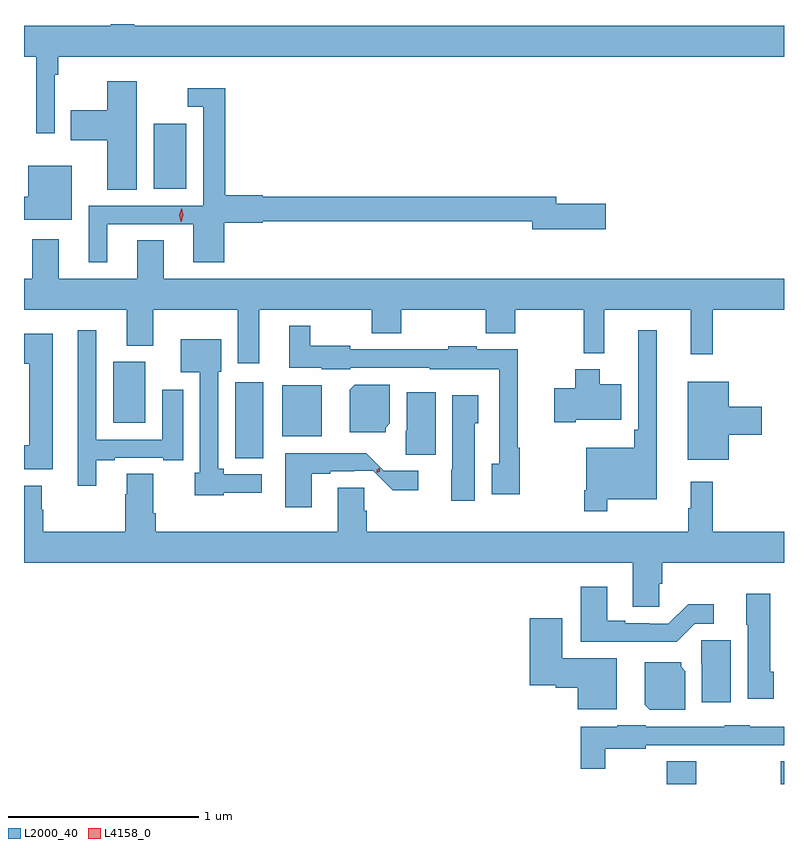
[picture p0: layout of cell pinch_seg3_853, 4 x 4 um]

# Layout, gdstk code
import gdstk
lib = gdstk.Library(unit=1e-6, precision=1e-09)
def R(c, l, rs):  # rectangles x0, y0, x1, y1
    for r in rs: c.add(gdstk.rectangle(r[:2], r[2:], *l))
def P(c, l, *ps):  # polygons
    for p in ps: c.add(gdstk.Polygon(p, *l))
L2000_40 = (2000, 40)
L4158_0 = (4158, 0)

pinch_seg3_853 = lib.new_cell('pinch_seg3_853')
R(pinch_seg3_853, L2000_40, [(667.552,675.776,667.707,675.896), (668.152,675.776,668.168,675.896), (665.279,677.491,665.428,677.89), (665.528,677.606,665.734,677.876), (664.637,677.678,664.807,677.998), (664.85,678.908,665.023,679.252)])
P(pinch_seg3_853, L2000_40, [(668.168,679.768),(664.747,679.768),(664.747,679.776),(664.625,679.776),(664.625,679.768),(664.168,679.768),(664.168,679.604),(664.232,679.604),(664.232,679.2),(664.329,679.2),(664.329,679.508),(664.349,679.508),(664.349,679.604),(668.168,679.604)],
  [(664.762,679.474),(664.607,679.474),(664.607,679.321),(664.414,679.321),(664.414,679.163),(664.607,679.163),(664.607,678.904),(664.762,678.904)],
  [(664.606,678.723),(665.06,678.723),(665.06,678.522),(665.222,678.522),(665.222,678.73),(665.424,678.73),(665.424,678.738),(666.842,678.738),(666.842,678.695),(667.231,678.695),(667.231,678.83),(666.97,678.83),(666.97,678.866),(665.424,678.866),(665.424,678.874),(665.228,678.874),(665.228,679.438),(665.031,679.438),(665.031,679.341),(665.112,679.341),(665.112,678.819),(664.508,678.819),(664.508,678.522),(664.606,678.522)],
  [(664.42,679.03),(664.19,679.03),(664.19,678.868),(664.168,678.868),(664.168,678.746),(664.42,678.746)],
  [(665.407,678.272),(665.998,678.272),(665.998,678.148),(666.153,678.148),(666.153,678.272),(666.598,678.272),(666.598,678.148),(666.753,678.148),(666.753,678.272),(667.113,678.272),(667.113,678.044),(667.223,678.044),(667.223,678.272),(667.676,678.272),(667.676,678.039),(667.793,678.039),(667.793,678.272),(668.168,678.272),(668.168,678.436),(664.903,678.436),(664.903,678.638),(664.763,678.638),(664.763,678.436),(664.351,678.436),(664.351,678.643),(664.211,678.643),(664.211,678.436),(664.168,678.436),(664.168,678.272),(664.709,678.272),(664.709,678.083),(664.849,678.083),(664.849,678.272),(665.294,678.272),(665.294,677.991),(665.407,677.991)],
  [(666.778,677.545),(666.767,677.545),(666.767,678.063),(666.552,678.063),(666.552,678.081),(666.402,678.081),(666.402,678.063),(665.886,678.063),(665.886,678.082),(665.674,678.082),(665.674,678.187),(665.564,678.187),(665.564,677.966),(665.736,677.966),(665.736,677.96),(665.886,677.96),(665.886,677.967),(666.303,677.967),(666.303,677.96),(666.669,677.96),(666.669,677.462),(666.629,677.462),(666.629,677.301),(666.778,677.301)],
  [(667.237,677.276),(667.498,677.276),(667.498,678.163),(667.401,678.163),(667.401,677.641),(667.381,677.641),(667.381,677.545),(667.128,677.545),(667.128,677.323),(667.116,677.323),(667.116,677.211),(667.237,677.211)],
  [(664.549,677.481),(664.645,677.481),(664.645,677.493),(664.901,677.493),(664.901,677.481),(665.005,677.481),(665.005,677.851),(664.895,677.851),(664.895,677.589),(664.548,677.589),(664.548,678.163),(664.451,678.163),(664.451,677.346),(664.549,677.346)],
  [(664.318,678.145),(664.168,678.145),(664.168,677.987),(664.196,677.987),(664.196,677.56),(664.168,677.56),(664.168,677.432),(664.318,677.432)],
  [(665.22,677.309),(665.419,677.309),(665.419,677.406),(665.22,677.406),(665.22,677.434),(665.19,677.434),(665.19,677.946),(665.206,677.946),(665.206,678.118),(664.994,678.118),(664.994,677.942),(665.094,677.942),(665.094,677.415),(665.066,677.415),(665.066,677.297),(665.22,677.297)],
  [(667.072,677.693),(667.312,677.693),(667.312,677.881),(667.198,677.881),(667.198,677.959),(667.069,677.959),(667.069,677.859),(666.96,677.859),(666.96,677.681),(667.072,677.681)],
  [(667.876,677.615),(668.05,677.615),(668.05,677.762),(667.876,677.762),(667.876,677.893),(667.661,677.893),(667.661,677.483),(667.876,677.483)],
  [(666.072,677.652),(666.094,677.674),(666.094,677.878),(665.908,677.878),(665.882,677.852),(665.882,677.627),(666.072,677.627)],
  [(666.334,677.839),(666.182,677.839),(666.182,677.634),(666.176,677.634),(666.176,677.509),(666.334,677.509)],
  [(666.541,677.676),(666.559,677.676),(666.559,677.821),(666.422,677.821),(666.422,677.43),(666.416,677.43),(666.416,677.268),(666.541,677.268)],
  [(665.683,677.409),(665.779,677.409),(665.779,677.421),(665.906,677.421),(665.906,677.424),(666.006,677.424),(666.109,677.322),(666.244,677.322),(666.244,677.424),(666.062,677.424),(665.968,677.518),(665.543,677.518),(665.543,677.232),(665.683,677.232)],
  [(667.512,676.83),(667.526,676.83),(667.526,676.94),(668.168,676.94),(668.168,677.104),(667.793,677.104),(667.793,677.368),(667.676,677.368),(667.676,677.228),(667.665,677.228),(667.665,677.104),(665.972,677.104),(665.972,677.214),(665.958,677.214),(665.958,677.336),(665.819,677.336),(665.819,677.104),(664.862,677.104),(664.862,677.2),(664.849,677.2),(664.849,677.408),(664.709,677.408),(664.709,677.3),(664.702,677.3),(664.702,677.104),(664.269,677.104),(664.269,677.22),(664.261,677.22),(664.261,677.347),(664.168,677.347),(664.168,676.94),(667.373,676.94),(667.373,676.708),(667.512,676.708)],
  [(667.698,676.62),(667.798,676.62),(667.798,676.723),(667.663,676.723),(667.56,676.62),(667.46,676.62),(667.46,676.623),(667.333,676.623),(667.333,676.636),(667.237,676.636),(667.237,676.813),(667.097,676.813),(667.097,676.526),(667.604,676.526)],
  [(668.113,676.368),(668.095,676.368),(668.095,676.777),(667.97,676.777),(667.97,676.614),(667.976,676.614),(667.976,676.224),(668.113,676.224)],
  [(667.288,676.438),(667,676.438),(667,676.648),(666.83,676.648),(666.83,676.295),(666.966,676.295),(666.966,676.283),(667.082,676.283),(667.082,676.169),(667.288,676.169)],
  [(667.888,676.533),(667.732,676.533),(667.732,676.41),(667.736,676.41),(667.736,676.206),(667.888,676.206)],
  [(667.648,676.37),(667.626,676.392),(667.626,676.417),(667.436,676.417),(667.436,676.192),(667.462,676.166),(667.648,676.166)],
  [(667.228,675.962),(667.44,675.962),(667.44,675.981),(667.857,675.981),(667.857,675.98),(668.089,675.98),(668.089,675.981),(668.168,675.981),(668.168,676.078),(667.989,676.078),(667.989,676.084),(667.857,676.084),(667.857,676.077),(667.44,676.077),(667.44,676.084),(667.29,676.084),(667.29,676.078),(667.099,676.078),(667.099,675.857),(667.228,675.857)])
P(pinch_seg3_853, L4158_0, [(666.024,677.414),(666.024,677.431),(666.039,677.437),(666.039,677.437),(666.04,677.437),(666.04,677.42),(666.025,677.414),(666.025,677.414)],
  [(664.994,678.735),(664.986,678.771),(664.998,678.806),(664.998,678.807),(664.998,678.806),(665.006,678.77),(664.995,678.735),(664.995,678.735)])

lib.write_gds('pinch_seg3_853.gds')
